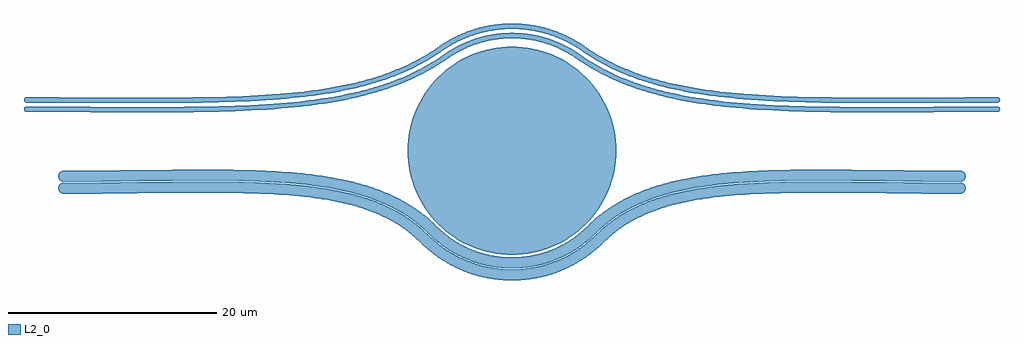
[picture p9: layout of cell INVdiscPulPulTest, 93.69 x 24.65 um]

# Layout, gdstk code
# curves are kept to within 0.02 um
import gdstk
lib = gdstk.Library(unit=1e-6, precision=1e-09)
def P(c, l, *ps):  # polygons
    for p in ps: c.add(gdstk.Polygon(p, *l))
L2_0 = (2, 0)

invdiscpulpultest = lib.new_cell('INVdiscPulPulTest')
P(invdiscpulpultest, L2_0, [(10,10),(9.02,10.048),(8.049,10.192),(7.097,10.431),(6.173,10.761),(5.286,11.181),(4.444,11.685),(3.656,12.27),(2.929,12.929),(2.27,13.656),(1.685,14.444),(1.181,15.286),(0.761,16.173),(0.431,17.097),(0.192,18.049),(0.048,19.02),(0,20),(0.048,20.98),(0.192,21.951),(0.431,22.903),(0.761,23.827),(1.181,24.714),(1.685,25.556),(2.27,26.344),(2.929,27.071),(3.656,27.73),(4.444,28.315),(5.286,28.819),(6.173,29.239),(7.097,29.569),(8.049,29.808),(9.02,29.952),(10,30),(10.98,29.952),(11.951,29.808),(12.903,29.569),(13.827,29.239),(14.714,28.819),(15.556,28.315),(16.344,27.73),(17.071,27.071),(17.73,26.344),(18.315,25.556),(18.819,24.714),(19.239,23.827),(19.569,22.903),(19.808,21.951),(19.952,20.98),(20,20),(19.952,19.02),(19.808,18.049),(19.569,17.097),(19.239,16.173),(18.819,15.286),(18.315,14.444),(17.73,13.656),(17.071,12.929),(16.344,12.27),(15.556,11.685),(14.714,11.181),(13.827,10.761),(12.903,10.431),(11.951,10.192),(10.98,10.048)],
  [(-24.931,23.685),(-36.596,23.72),(-36.596,24.22),(-24.024,24.186),(-18.14,24.255),(-15.061,24.368),(-12.526,24.525),(-10.387,24.722),(-8.117,25.015),(-6.498,25.292),(-4.946,25.621),(-3.459,26.009),(-2.033,26.46),(-0.444,27.07),(1.07,27.78),(2.513,28.594),(4.416,29.824),(5.086,30.176),(5.778,30.482),(6.748,30.822),(7.85,31.094),(8.866,31.243),(9.946,31.3),(10.918,31.263),(11.831,31.151),(12.783,30.952),(13.715,30.672),(14.62,30.313),(15.49,29.877),(16.139,29.487),(17.487,28.594),(18.72,27.889),(19.786,27.362),(21.115,26.797),(22.738,26.226),(24.443,25.744),(26.235,25.343),(28.117,25.015),(30.387,24.722),(32.526,24.525),(35.061,24.368),(38.14,24.255),(44.024,24.186),(56.596,24.22),(56.596,23.72),(42.277,23.693),(38.124,23.756),(34.291,23.908),(31.522,24.107),(28.583,24.442),(26.644,24.756),(25.057,25.083),(23.536,25.469),(22.077,25.917),(20.45,26.526),(18.9,27.234),(17.423,28.048),(15.427,29.338),(14.743,29.703),(14.083,29.999),(13.059,30.358),(12.055,30.603),(11.032,30.751),(9.897,30.8),(8.968,30.751),(8.047,30.622),(7.09,30.401),(6.254,30.13),(5.538,29.835),(4.844,29.49),(4.264,29.151),(3.19,28.431),(2.162,27.804),(1.1,27.234),(-0.224,26.621),(-1.37,26.167),(-2.799,25.685),(-4.289,25.268),(-5.842,24.913),(-7.463,24.613),(-9.154,24.365),(-11.522,24.107),(-13.56,23.951),(-15.787,23.834),(-18.929,23.737)],
  [(-24.908,24.585),(-36.596,24.62),(-36.596,25.12),(-24.008,25.085),(-18.169,25.154),(-15.113,25.266),(-12.597,25.423),(-10.503,25.615),(-8.289,25.898),(-6.2,26.266),(-4.469,26.664),(-2.823,27.142),(-1.258,27.707),(0.023,28.266),(1.252,28.898),(2.238,29.484),(3.569,30.368),(4.278,30.775),(5.066,31.158),(5.989,31.522),(6.938,31.81),(8.024,32.039),(9.008,32.16),(9.942,32.2),(10.992,32.16),(11.976,32.039),(13.062,31.81),(13.901,31.56),(14.72,31.25),(15.619,30.829),(16.431,30.368),(17.762,29.484),(18.748,28.898),(19.977,28.266),(21.258,27.707),(22.823,27.142),(24.469,26.664),(26.2,26.266),(28.289,25.898),(30.503,25.615),(32.597,25.423),(35.113,25.266),(38.169,25.154),(44.008,25.085),(56.596,25.12),(56.596,24.62),(42.275,24.593),(38.153,24.655),(34.348,24.806),(31.609,25.003),(28.74,25.328),(27.115,25.584),(25.558,25.891),(24.067,26.254),(22.406,26.754),(20.606,27.436),(19.112,28.136),(17.887,28.819),(15.782,30.172),(15.088,30.536),(14.319,30.874),(13.26,31.237),(12.171,31.497),(11.062,31.652),(9.944,31.7),(8.993,31.657),(7.994,31.527),(6.956,31.297),(5.942,30.974),(5.217,30.678),(4.463,30.307),(3.785,29.913),(2.707,29.191),(1.71,28.583),(0.679,28.03),(-0.388,27.53),(-1.719,26.996),(-3.108,26.53),(-4.557,26.127),(-6.07,25.783),(-7.919,25.45),(-9.863,25.184),(-11.609,25.003),(-13.623,24.849),(-15.833,24.733),(-18.951,24.636)],
  [(56.596,24.62),(56.596,25.12),(56.693,25.101),(56.773,25.047),(56.826,24.968),(56.846,24.87),(56.826,24.773),(56.773,24.693),(56.693,24.64)],
  [(-36.596,24.62),(-36.693,24.64),(-36.773,24.693),(-36.826,24.773),(-36.846,24.87),(-36.826,24.968),(-36.773,25.047),(-36.693,25.101),(-36.596,25.12)],
  [(56.596,23.72),(56.596,24.22),(56.693,24.201),(56.773,24.147),(56.826,24.068),(56.846,23.97),(56.826,23.873),(56.773,23.793),(56.693,23.74)],
  [(-36.596,23.72),(-36.693,23.74),(-36.773,23.793),(-36.826,23.873),(-36.846,23.97),(-36.826,24.068),(-36.773,24.147),(-36.693,24.201),(-36.596,24.22)],
  [(53.026,15.874),(53.026,16.924),(53.23,16.883),(53.397,16.771),(53.509,16.604),(53.551,16.399),(53.509,16.195),(53.397,16.028),(53.23,15.916)],
  [(10,7.55),(8.625,7.626),(7.341,7.837),(6.086,8.181),(4.874,8.654),(3.785,9.212),(2.755,9.875),(1.969,10.486),(0.775,11.598),(0.038,12.217),(-0.744,12.774),(-1.571,13.274),(-2.624,13.802),(-3.937,14.327),(-5.342,14.76),(-6.841,15.112),(-8.672,15.424),(-10.883,15.678),(-13.283,15.846),(-15.268,15.924),(-17.35,15.966),(-20.288,15.976),(-33.026,15.874),(-33.23,15.916),(-33.431,16.065),(-33.54,16.294),(-33.54,16.505),(-33.487,16.65),(-33.36,16.804),(-33.182,16.901),(-33.026,16.924),(-33.026,15.874),(-33.026,16.924),(-21.053,17.022),(-17.865,17.02),(-14.711,16.957),(-11.778,16.804),(-9.468,16.585),(-7.245,16.255),(-5.628,15.912),(-4.108,15.485),(-2.683,14.966),(-1.353,14.346),(-0.287,13.727),(0.55,13.146),(1.34,12.502),(2.593,11.334),(3.423,10.688),(4.37,10.087),(5.371,9.582),(6.483,9.156),(7.634,8.848),(8.81,8.662),(10.07,8.6),(11.19,8.662),(12.366,8.848),(13.517,9.156),(14.629,9.582),(15.63,10.087),(16.577,10.688),(17.407,11.334),(18.66,12.502),(19.289,13.022),(20.116,13.616),(21.171,14.248),(22.294,14.8),(23.691,15.347),(25.184,15.799),(26.773,16.165),(28.709,16.488),(30.774,16.722),(32.731,16.867),(35.221,16.973),(40.285,17.025),(53.026,16.924),(53.026,15.874),(39.532,15.978),(37.35,15.966),(34.762,15.908),(32.328,15.79),(29.88,15.577),(27.971,15.317),(26.403,15.019),(24.931,14.645),(23.744,14.257),(22.444,13.72),(21.402,13.179),(20.584,12.668),(19.811,12.098),(19.225,11.598),(18.205,10.636),(17.245,9.875),(16.215,9.212),(15.126,8.654),(13.914,8.181),(12.659,7.837),(11.375,7.626)],
  [(53.026,17.024),(53.026,18.074),(53.23,18.033),(53.397,17.921),(53.509,17.754),(53.551,17.549),(53.509,17.345),(53.397,17.178),(53.23,17.066)],
  [(10,8.7),(8.752,8.769),(7.655,8.946),(6.514,9.251),(5.348,9.702),(4.419,10.174),(3.424,10.81),(2.658,11.41),(1.547,12.451),(0.762,13.109),(-0.241,13.816),(-1.128,14.339),(-2.451,14.977),(-3.659,15.441),(-4.937,15.836),(-6.518,16.215),(-8.196,16.514),(-10.235,16.771),(-12.245,16.937),(-15.216,17.072),(-17.863,17.12),(-20.284,17.125),(-33.026,17.024),(-33.23,17.066),(-33.431,17.215),(-33.54,17.444),(-33.54,17.655),(-33.487,17.8),(-33.36,17.954),(-33.182,18.051),(-33.026,18.074),(-33.026,17.024),(-33.026,18.074),(-21.05,18.171),(-17.843,18.169),(-14.654,18.105),(-11.69,17.951),(-9.288,17.721),(-6.957,17.368),(-5.257,17),(-3.656,16.542),(-2.154,15.986),(-0.748,15.323),(0.379,14.663),(1.266,14.045),(2.104,13.361),(3.293,12.249),(4.035,11.664),(4.992,11.056),(5.838,10.633),(6.838,10.25),(7.934,9.96),(8.93,9.806),(10.063,9.75),(11.07,9.806),(12.128,9.973),(13.162,10.25),(14.22,10.659),(15.172,11.15),(15.965,11.664),(16.707,12.249),(17.896,13.361),(18.734,14.045),(19.621,14.663),(20.748,15.323),(21.947,15.898),(23.436,16.469),(25.022,16.94),(26.708,17.32),(28.493,17.617),(30.378,17.84),(32.653,18.014),(35.17,18.121),(37.843,18.169),(40.281,18.174),(53.026,18.074),(53.026,17.024),(40.284,17.125),(37.321,17.114),(34.706,17.056),(32.245,16.937),(30.235,16.771),(28.196,16.514),(26.286,16.166),(24.719,15.775),(23.453,15.369),(22.063,14.805),(20.947,14.239),(19.899,13.59),(19.077,12.983),(18.453,12.451),(17.447,11.501),(16.576,10.81),(15.761,10.279),(14.779,9.76),(13.684,9.317),(12.549,8.991),(11.248,8.769)])

lib.write_gds('INVdiscPulPulTest.gds')
